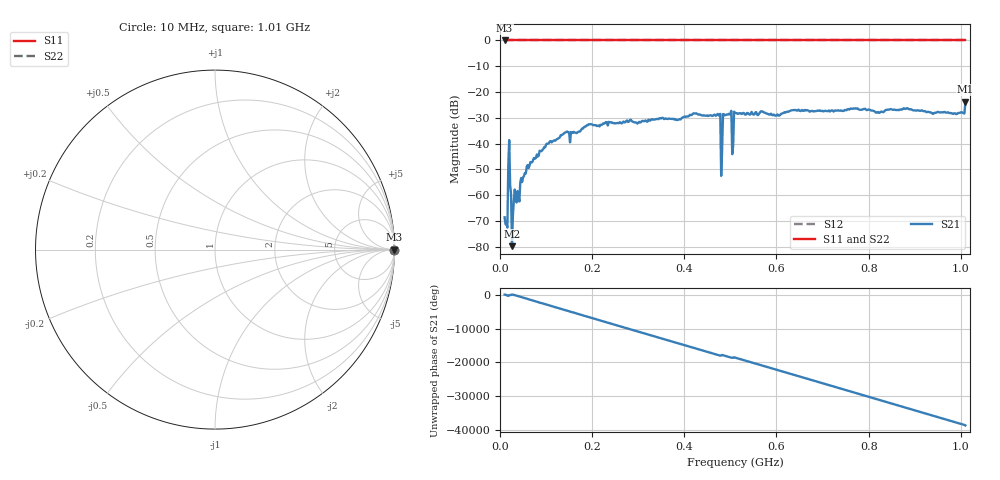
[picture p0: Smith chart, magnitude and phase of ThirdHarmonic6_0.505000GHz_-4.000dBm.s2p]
! 8/15/2025 3:15:27 PM
! C:\ANRITSUVNA\TEMP\TEMP.S2P
! CHANNEL.1
! TR.MEASUREMENT
! RAW.DATA
! RF.CORRECTION.OFF
! AVERAGING.OFF
! IF.BANDWIDTH: 5KHZ
! SWEEPTYPE:  FREQ.SWEEP(Linear)
! Reference Plane Port Info
! PORT:  PORT1  PORT2
! DISTANCE:  0  m  0  m
! TIME:  0  s  0  s
! PHASE.OFFSET:  0  deg.  0  deg.
! LOSS:  0  dB  0  dB
! REF.LOSS:  0  dB  0  dB
! REF.FREQ:  0  Hz  0  Hz
! Power Info
! POWER:  -20  dBm  -20  dBm
! EFF.POWER:  -20  dBm  -20  dBm
! SOURCE.ATTEN:  0  dB  0  dB
! TEST.ATTEN:  0  dB  0  dB
# GHZ S RI R 50.0
! FREQ.GHZ  S11RE  S11IM  S21RE  S21IM  S12RE  S12IM  S22RE  S22IM
!; PortSelection: Port_12
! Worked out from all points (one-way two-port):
!   501 points, 10 MHz to 1.01 GHz, reference 50 ohm
!   highest |S21| = -23.69 dB at 1.01 GHz (marker M1); lowest = -79.8 dB at 26 MHz (marker M2)
!   lowest |S11| = 0.0 dB at 10 MHz (marker M3)
!   |S11| at or under -10 dB: nowhere
!   |S22| runs from 0.0 to 0.0 dB; largest |S21 - S12| = 1
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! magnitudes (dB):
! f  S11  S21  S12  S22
! 10 MHz  0.0  -68.6  0.0  0.0
! 12 MHz  0.0  -71.3  0.0  0.0
! 20 MHz  0.0  -38.6  0.0  0.0
! 26 MHz  0.0  -79.8  0.0  0.0
! 30 MHz  0.0  -62.3  0.0  0.0
! 48 MHz  0.0  -54.9  0.0  0.0
! 70 MHz  0.0  -47.2  0.0  0.0
! 106 MHz  0.0  -39.9  0.0  0.0
! 178 MHz  0.0  -34.2  0.0  0.0
! 344 MHz  0.0  -30.5  0.0  0.0
! 474 MHz  0.0  -28.6  0.0  0.0
! 478 MHz  0.0  -28.5  0.0  0.0
! 484 MHz  0.0  -28.6  0.0  0.0
! 488 MHz  0.0  -29.1  0.0  0.0
! 498 MHz  0.0  -28.7  0.0  0.0
! 502 MHz  0.0  -27.3  0.0  0.0
! 510 MHz  0.0  -28.0  0.0  0.0
! 512 MHz  0.0  -28.2  0.0  0.0
! 678 MHz  0.0  -27.3  0.0  0.0
! 844 MHz  0.0  -26.8  0.0  0.0
! 988 MHz  0.0  -28.3  0.0  0.0
! 1.01 GHz  0.0  -23.7  0.0  0.0
